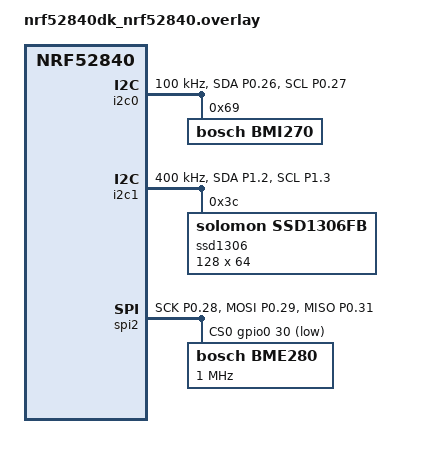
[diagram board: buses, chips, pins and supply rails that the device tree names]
/*
 * Copyright (c) 2022 Nordic Semiconductor ASA
 *
 * SPDX-License-Identifier: LicenseRef-Nordic-5-Clause
 */
/ {

    agg0: agg0 {
        compatible = "caf,aggregator";
        sensor_descr = "bmi270_accel";
        buf_data_length = <240>;
        sample_size = <3>;
        status = "okay";
    };

    agg1: agg1 {
        compatible = "caf,aggregator";
        sensor_descr = "bme280_env";
        buf_data_length = <240>;
        sample_size = <3>;
        status = "okay";
    };

};


&i2c0 {
    compatible = "nordic,nrf-twim";
    status = "okay";
    clock-frequency = <I2C_BITRATE_STANDARD>;
    pinctrl-0 = <&i2c0_default>;
    pinctrl-1 = <&i2c0_sleep>;
    pinctrl-names = "default", "sleep";
    zephyr,concat-buf-size = <257>;
    bmi270: bmi270@69 {
        compatible = "bosch,bmi270";
        reg = <0x69>;
        status = "okay";
        label = "bmi270";
    };
};

&i2c1 {
    compatible = "nordic,nrf-twim";
    status = "okay";
    pinctrl-0 = <&i2c1_default>;
    pinctrl-1 = <&i2c1_sleep>;
    pinctrl-names = "default", "sleep";
    clock-frequency = <I2C_BITRATE_FAST>;
    zephyr,concat-buf-size = <2048>;

    ssd1306: ssd1306@3c {
        compatible = "solomon,ssd1306fb";
        reg = <0x3c>;
        width = <128>;
        height = <64>;
        segment-offset = <0>;
        page-offset = <0>;
        display-offset = <0>;
        multiplex-ratio = <63>;
        segment-remap;
        com-invdir;
        prechargep = <0x22>;
    };
};

&spi2 {
    compatible = "nordic,nrf-spim";
    status = "okay";
    pinctrl-0 = <&spi2_default>;
    pinctrl-1 = <&spi2_sleep>;
    pinctrl-names = "default", "sleep";
    cs-gpios = <&gpio0 30 GPIO_ACTIVE_LOW>;
    bme280: bme280@0 {
        compatible = "bosch,bme280";
        reg = <0>;
        spi-max-frequency = <1000000>;
        label = "bme280";
    };
};

/* STEP 2.2 - Change the pin configuration */
&pinctrl {

    i2c0_default: i2c0_default {
        group1 {
            psels = <NRF_PSEL(TWIM_SDA, 0, 26)>,
                    <NRF_PSEL(TWIM_SCL, 0, 27)>;
            nordic,drive-mode = <NRF_DRIVE_S0D1>; // standard 0, disconnect 1
            bias-pull-up; // internal pull-up is too weak, only for 100kHz or lower

        };
    };

    i2c0_sleep: i2c0_sleep {
        group1 {
            psels = <NRF_PSEL(TWIM_SDA, 0, 26)>,
                    <NRF_PSEL(TWIM_SCL, 0, 27)>;
            low-power-enable;
        };
    };

    i2c1_default: i2c1_default {
        group1 {
            psels = <NRF_PSEL(TWIM_SDA, 1, 2)>,   // P1.02
            <NRF_PSEL(TWIM_SCL, 1, 3)>;   // P1.03
            nordic,drive-mode = <NRF_DRIVE_S0D1>; // standard 0, disconnect 1
            bias-pull-up; // internal pull-up is too weak, only for 100kHz or lower
        };
    };
    i2c1_sleep: i2c1_sleep {
        group1 {
            psels = <NRF_PSEL(TWIM_SDA, 1, 2)>,
                    <NRF_PSEL(TWIM_SCL, 1, 3)>;
            low-power-enable;
        };
    };


    spi2_default: spi2_default {
        group1 {
            psels = <NRF_PSEL(SPIM_SCK, 0, 28)>,
                    <NRF_PSEL(SPIM_MOSI, 0, 29)>,
                    <NRF_PSEL(SPIM_MISO, 0, 31)>;
        };
    };

    spi2_sleep: spi2_sleep {
        group1 {
            psels = <NRF_PSEL(SPIM_SCK, 0, 28)>,
                    <NRF_PSEL(SPIM_MOSI, 0, 29)>,
                    <NRF_PSEL(SPIM_MISO, 0, 31)>;
            low-power-enable;
        };
    };
};

&spi0 {
    status = "disabled";
};

&spi1 {
    status = "disabled";
};





